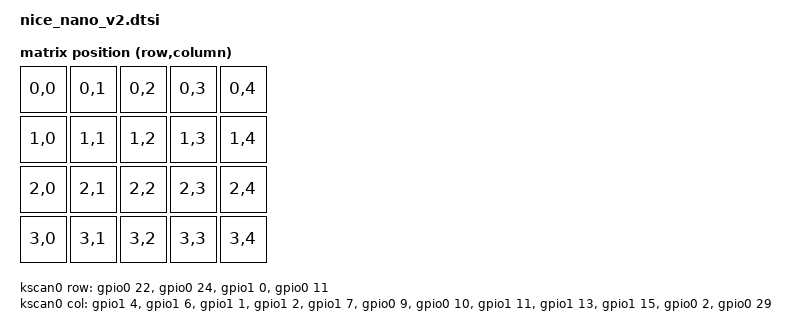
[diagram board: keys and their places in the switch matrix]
#include <dt-bindings/zmk/matrix-transform.h>

/ {
    chosen {
        zmk,kscan = &kscan0;
        zmk,matrix-transform = &default_transform;
        zephyr,display = &oled;
    };

    default_transform: keymap_transform_0 {
        compatible = "zmk,matrix-transform";
        columns = <5>;
        rows = <4>;
        map = <
            RC(0,0) RC(0,1) RC(0,2) RC(0,3) RC(0,4)
            RC(1,0) RC(1,1) RC(1,2) RC(1,3) RC(1,4)
            RC(2,0) RC(2,1) RC(2,2) RC(2,3) RC(2,4)
            RC(3,0) RC(3,1) RC(3,2) RC(3,3) RC(3,4)
        >;
    };

    kscan0: kscan {
        compatible = "zmk,kscan-gpio-matrix";
        label = "KSCAN";
        diode-direction = "col2row";
        
        row-gpios
            = <&gpio0 22 (GPIO_ACTIVE_HIGH | GPIO_PULL_DOWN)>  // F7
            , <&gpio0 24 (GPIO_ACTIVE_HIGH | GPIO_PULL_DOWN)>  // F3
            , <&gpio1 0 (GPIO_ACTIVE_HIGH | GPIO_PULL_DOWN)>   // F1
            , <&gpio0 11 (GPIO_ACTIVE_HIGH | GPIO_PULL_DOWN)>  // D
            ;

        col-gpios
            = <&gpio1 4 (GPIO_ACTIVE_HIGH | GPIO_PULL_DOWN)>   // S
            , <&gpio1 6 (GPIO_ACTIVE_HIGH | GPIO_PULL_DOWN)>   // W
            , <&gpio1 1 (GPIO_ACTIVE_HIGH | GPIO_PULL_DOWN)>   // A
            , <&gpio1 2 (GPIO_ACTIVE_HIGH | GPIO_PULL_DOWN)>   // 功能键1
            , <&gpio1 7 (GPIO_ACTIVE_HIGH | GPIO_PULL_DOWN)>   // 功能键2
            , <&gpio0 9 (GPIO_ACTIVE_HIGH | GPIO_PULL_DOWN)>   // I
            , <&gpio0 10 (GPIO_ACTIVE_HIGH | GPIO_PULL_DOWN)>  // O
            , <&gpio1 11 (GPIO_ACTIVE_HIGH | GPIO_PULL_DOWN)>  // P
            , <&gpio1 13 (GPIO_ACTIVE_HIGH | GPIO_PULL_DOWN)>  // H
            , <&gpio1 15 (GPIO_ACTIVE_HIGH | GPIO_PULL_DOWN)>  // J
            , <&gpio0 2 (GPIO_ACTIVE_HIGH | GPIO_PULL_DOWN)>   // K
            , <&gpio0 29 (GPIO_ACTIVE_HIGH | GPIO_PULL_DOWN)>  // L
            ;
    };

    oled: ssd1306@3c {
        compatible = "solomon,ssd1306fb";
        reg = <0x3c>;
        label = "DISPLAY";
        width = <128>;
        height = <32>;
        segment-offset = <0>;
        page-offset = <0>;
        display-offset = <0>;
        multiplex-ratio = <31>;
        segment-remap;
        com-invdir;
        com-sequential;
        prechargep = <0x22>;
    };
};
